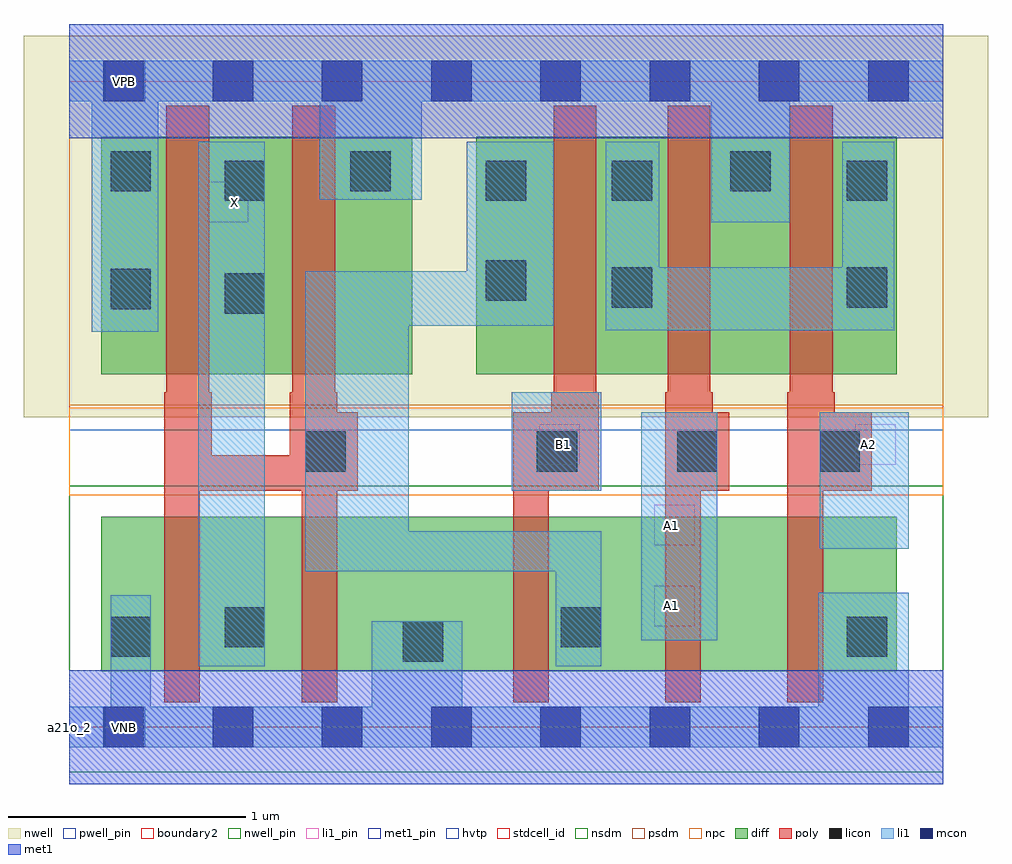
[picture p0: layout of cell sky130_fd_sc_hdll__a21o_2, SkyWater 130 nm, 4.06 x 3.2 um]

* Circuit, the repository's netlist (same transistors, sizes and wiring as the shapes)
* Copyright 2020 The SkyWater PDK Authors
*
* Licensed under the Apache License, Version 2.0 (the "License");
* you may not use this file except in compliance with the License.
* You may obtain a copy of the License at
*
*     https://www.apache.org/licenses/LICENSE-2.0
*
* Unless required by applicable law or agreed to in writing, software
* distributed under the License is distributed on an "AS IS" BASIS,
* WITHOUT WARRANTIES OR CONDITIONS OF ANY KIND, either express or implied.
* See the License for the specific language governing permissions and
* limitations under the License.
*
* SPDX-License-Identifier: Apache-2.0

.SUBCKT sky130_fd_sc_hdll__a21o_2 A1 A2 B1 VGND VNB VPB VPWR X
*.PININFO A1:I A2:I B1:I VGND:I VNB:I VPB:I VPWR:I X:O
MMPA0 pndA A1 VPWR VPB sky130_fd_pr__pfet_01v8_hvt m=1 w=1.0U l=0.18U mult=1 sa=0.265
+ sb=0.265 sd=0.28 area=0.063 perim=1.14
MMPA1 pndA A2 VPWR VPB sky130_fd_pr__pfet_01v8_hvt m=1 w=1.0U l=0.18U mult=1 sa=0.265
+ sb=0.265 sd=0.28 area=0.063 perim=1.14
MMPB0 y B1 pndA VPB sky130_fd_pr__pfet_01v8_hvt m=1 w=1.0U l=0.18U mult=1 sa=0.265
+ sb=0.265 sd=0.28 area=0.063 perim=1.14
MMIPX X y VPWR VPB sky130_fd_pr__pfet_01v8_hvt m=2 w=1.0U l=0.18U mult=1 sa=0.265
+ sb=0.265 sd=0.28 area=0.063 perim=1.14
MMNA0 y A1 sndA1 VNB sky130_fd_pr__nfet_01v8 m=1 w=0.65U l=0.15U mult=1 sa=0.265
+ sb=0.265 sd=0.28 area=0.063 perim=1.14
MMNA1 sndA1 A2 VGND VNB sky130_fd_pr__nfet_01v8 m=1 w=0.65U l=0.15U mult=1 sa=0.265
+ sb=0.265 sd=0.28 area=0.063 perim=1.14
MMNB0 y B1 VGND VNB sky130_fd_pr__nfet_01v8 m=1 w=0.65U l=0.15U mult=1 sa=0.265
+ sb=0.265 sd=0.28 area=0.063 perim=1.14
MMINX X y VGND VNB sky130_fd_pr__nfet_01v8 m=2 w=0.65U l=0.15U mult=1 sa=0.265
+ sb=0.265 sd=0.28 area=0.063 perim=1.14
.ENDS sky130_fd_sc_hdll__a21o_2

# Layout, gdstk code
import gdstk
lib = gdstk.Library(unit=1e-6, precision=1e-09)
def R(c, l, rs):  # rectangles x0, y0, x1, y1
    for r in rs: c.add(gdstk.rectangle(r[:2], r[2:], *l))
def A(c, l, x, y, w, h, nx, ny, dx, dy):  # array of equal rectangles
    R(c, l, [(x+i*dx, y+j*dy, x+i*dx+w, y+j*dy+h) for i in range(nx) for j in range(ny)])
def P(c, l, *ps):  # polygons
    for p in ps: c.add(gdstk.Polygon(p, *l))
nwell_pin = (64, 16)
nwell = (64, 20)
diff = (65, 20)
poly = (66, 20)
licon = (66, 44)
li1_pin = (67, 16)
li1 = (67, 20)
mcon = (67, 44)
met1_pin = (68, 16)
met1 = (68, 20)
hvtp = (78, 44)
stdcell_id = (81, 4)
nsdm = (93, 44)
psdm = (94, 20)
npc = (95, 20)
pwell_pin = (122, 16)
boundary2 = (236, 0)

sky130_fd_sc_hdll__a21o_ = lib.new_cell('sky130_fd_sc_hdll__a21o_2')
R(sky130_fd_sc_hdll__a21o_, nwell_pin, [(0.15,2.635,0.32,2.805)])
R(sky130_fd_sc_hdll__a21o_, nwell, [(-0.19,1.305,3.87,2.91)])
R(sky130_fd_sc_hdll__a21o_, diff, [(0.135,0.235,3.485,0.885), (0.135,1.485,1.445,2.485), (1.715,1.485,3.485,2.485)])
P(sky130_fd_sc_hdll__a21o_, poly, [(1.215,1.325),(1.13,1.325),(1.13,1.41),(1.12,1.41),(1.12,2.615),(0.94,2.615),(0.94,1.41),(0.93,1.41),(0.93,1.145),(0.6,1.145),(0.6,1.41),(0.59,1.41),(0.59,2.615),(0.41,2.615),(0.41,1.41),(0.4,1.41),(0.4,0.105),(0.55,0.105),(0.55,0.995),(0.98,0.995),(0.98,0.105),(1.13,0.105),(1.13,0.995),(1.215,0.995)],
  [(2.23,1.41),(2.22,1.41),(2.22,2.615),(2.04,2.615),(2.04,1.41),(2.03,1.41),(2.03,1.325),(1.87,1.325),(1.87,0.105),(2.02,0.105),(2.02,0.995),(2.23,0.995)],
  [(2.78,1.325),(2.71,1.325),(2.71,1.41),(2.7,1.41),(2.7,2.615),(2.52,2.615),(2.52,1.41),(2.51,1.41),(2.51,0.105),(2.66,0.105),(2.66,0.995),(2.78,0.995)],
  [(3.38,1.325),(3.225,1.325),(3.225,1.41),(3.215,1.41),(3.215,2.615),(3.035,2.615),(3.035,1.41),(3.025,1.41),(3.025,0.105),(3.175,0.105),(3.175,0.995),(3.38,0.995)])
R(sky130_fd_sc_hdll__a21o_, licon, [(1.405,0.275,1.575,0.445), (0.175,0.295,0.345,0.465), (3.275,0.295,3.445,0.465), (0.655,0.335,0.825,0.505), (2.07,0.335,2.24,0.505), (0.995,1.075,1.165,1.245), (1.97,1.075,2.14,1.245), (2.56,1.075,2.73,1.245), (3.16,1.075,3.33,1.245), (0.655,1.74,0.825,1.91), (0.175,1.76,0.345,1.93), (2.285,1.765,2.455,1.935), (3.275,1.765,3.445,1.935), (1.755,1.795,1.925,1.965), (0.655,2.215,0.825,2.385), (1.755,2.215,1.925,2.385), (2.285,2.215,2.455,2.385), (3.275,2.215,3.445,2.385), (0.175,2.255,0.345,2.425), (1.185,2.255,1.355,2.425), (2.785,2.255,2.955,2.425)])
R(sky130_fd_sc_hdll__a21o_, li1_pin, [(2.465,0.425,2.635,0.595), (2.465,0.765,2.635,0.935), (1.98,1.105,2.15,1.275), (3.31,1.105,3.48,1.275), (0.585,2.125,0.755,2.295)])
R(sky130_fd_sc_hdll__a21o_, li1, [(0.545,0.255,0.825,2.465), (2.41,0.365,2.73,1.325), (3.16,0.75,3.535,1.325), (1.865,0.995,2.24,1.41)])
P(sky130_fd_sc_hdll__a21o_, li1, [(2.24,0.825),(1.43,0.825),(1.43,1.69),(2.04,1.69),(2.04,2.465),(1.675,2.465),(1.675,1.92),(0.995,1.92),(0.995,0.655),(2.05,0.655),(2.05,0.255),(2.24,0.255)],
  [(3.68,0.085),(3.535,0.085),(3.535,0.565),(3.155,0.565),(3.155,0.085),(1.655,0.085),(1.655,0.445),(1.275,0.445),(1.275,0.085),(0.345,0.085),(0.345,0.555),(0.175,0.555),(0.175,0.085),(0,0.085),(0,-0.085),(3.68,-0.085)],
  [(3.68,2.805),(0,2.805),(0,2.635),(0.095,2.635),(0.095,1.665),(0.375,1.665),(0.375,2.635),(1.055,2.635),(1.055,2.22),(1.485,2.22),(1.485,2.635),(2.705,2.635),(2.705,2.125),(3.035,2.125),(3.035,2.635),(3.68,2.635)],
  [(3.475,2.465),(3.255,2.465),(3.255,1.935),(2.485,1.935),(2.485,2.465),(2.26,2.465),(2.26,1.67),(3.475,1.67)])
A(sky130_fd_sc_hdll__a21o_, mcon, 0.145, -0.085, 0.17, 0.17, 8, 2, 0.46, 2.72)
R(sky130_fd_sc_hdll__a21o_, met1_pin, [(0.15,-0.085,0.32,0.085), (0.15,2.635,0.32,2.805)])
R(sky130_fd_sc_hdll__a21o_, met1, [(0,-0.24,3.68,0.24), (0,2.48,3.68,2.96)])
R(sky130_fd_sc_hdll__a21o_, hvtp, [(0,1.25,3.68,2.72)])
R(sky130_fd_sc_hdll__a21o_, stdcell_id, [(0,0,3.68,2.72)])
R(sky130_fd_sc_hdll__a21o_, nsdm, [(0,-0.19,3.68,1.015)])
R(sky130_fd_sc_hdll__a21o_, psdm, [(0,1.355,3.68,2.91)])
R(sky130_fd_sc_hdll__a21o_, npc, [(0,0.975,3.68,1.345)])
R(sky130_fd_sc_hdll__a21o_, pwell_pin, [(0.15,-0.085,0.32,0.085)])
R(sky130_fd_sc_hdll__a21o_, boundary2, [(0,0,3.68,2.72)])
sky130_fd_sc_hdll__a21o_.add(gdstk.Label('X', (0.695,2.21), layer=67, texttype=5))
sky130_fd_sc_hdll__a21o_.add(gdstk.Label('B1', (2.08,1.19), layer=67, texttype=5))
sky130_fd_sc_hdll__a21o_.add(gdstk.Label('A1', (2.535,0.85), layer=67, texttype=5))
sky130_fd_sc_hdll__a21o_.add(gdstk.Label('A2', (3.365,1.19), layer=67, texttype=5))
sky130_fd_sc_hdll__a21o_.add(gdstk.Label('A1', (2.535,0.51), layer=67, texttype=5))
sky130_fd_sc_hdll__a21o_.add(gdstk.Label('VNB', (0.235,0), layer=64, texttype=59))
sky130_fd_sc_hdll__a21o_.add(gdstk.Label('VPB', (0.235,2.72), layer=64, texttype=5))
sky130_fd_sc_hdll__a21o_.add(gdstk.Label('VGND', (0.235,0), layer=68, texttype=5))
sky130_fd_sc_hdll__a21o_.add(gdstk.Label('VPWR', (0.235,2.72), layer=68, texttype=5))
sky130_fd_sc_hdll__a21o_.add(gdstk.Label('a21o_2', (0,0), layer=83, texttype=44))

lib.write_gds('sky130_fd_sc_hdll__a21o_2.gds')
